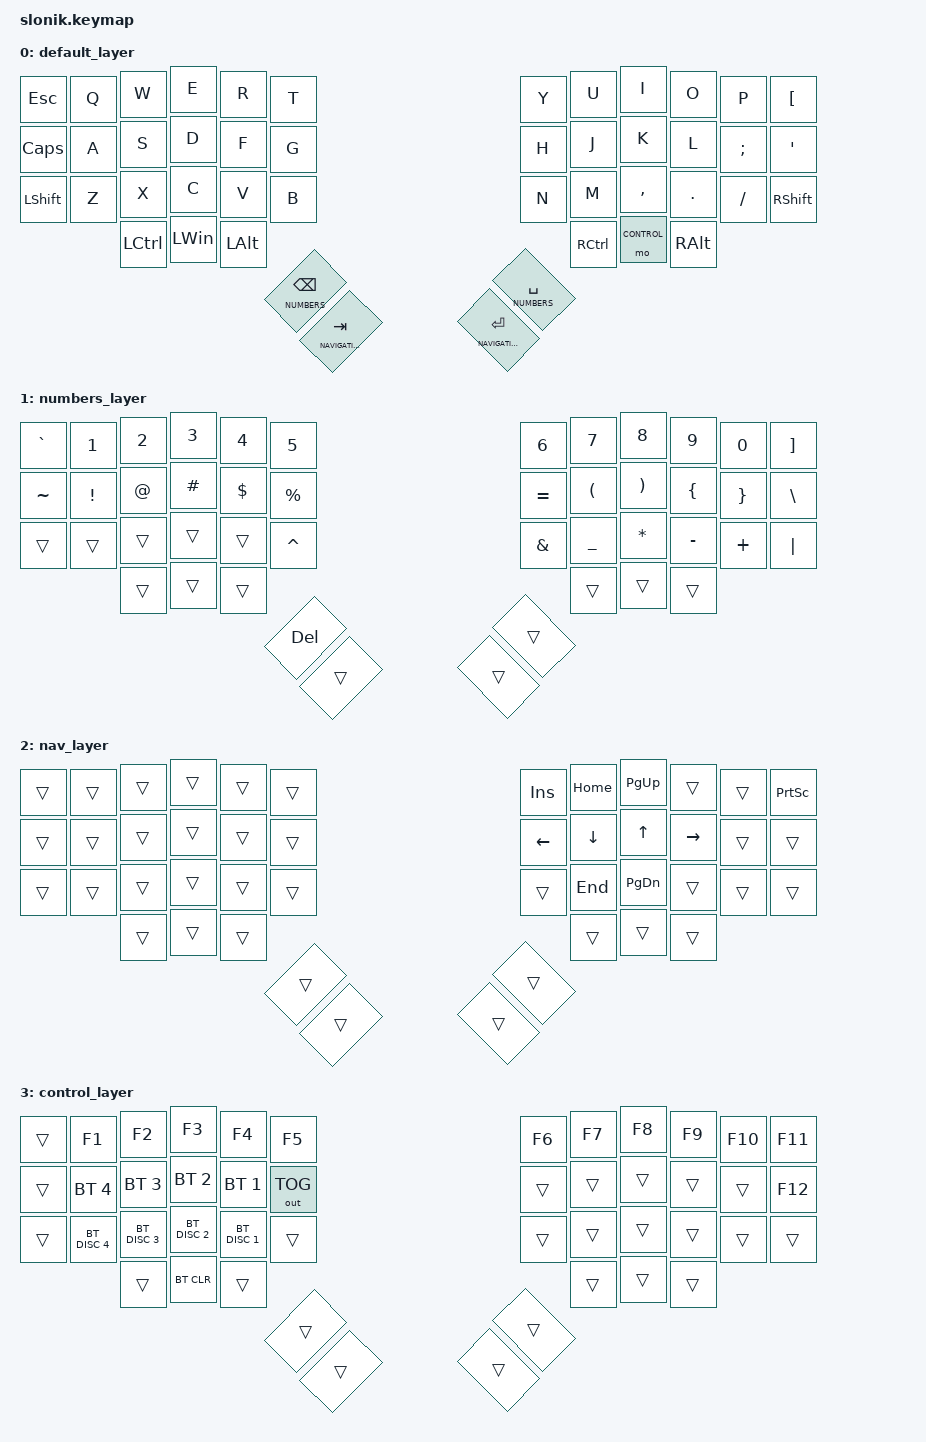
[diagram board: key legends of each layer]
#include <behaviors.dtsi>
#include <dt-bindings/zmk/keys.h>
#include <dt-bindings/zmk/bt.h>
#include <dt-bindings/zmk/outputs.h>

#define DEFAULT    0
#define NUMBERS    1
#define NAVIGATION 2
#define CONTROL    3

/ {
    behaviors {
        ht_hp: hold_tap_hold_preffered {
            compatible = "zmk,behavior-hold-tap";
            #binding-cells = <2>;
            flavor = "hold-preferred";
            bindings = <&mo>, <&kp>;
            tapping-term-ms = <200>;
        };
    };

    keymap {
        compatible = "zmk,keymap";
// ┏━━━━━━━━━┳━━━━━━━━━┳━━━━━━━━━┳━━━━━━━━━┳━━━━━━━━━┳━━━━━━━━━┓                                            ┏━━━━━━━━━┳━━━━━━━━━┳━━━━━━━━━┳━━━━━━━━━┳━━━━━━━━━┳━━━━━━━━━┓
// ┃         ┃         ┃         ┃         ┃         ┃         ┃                                            ┃         ┃         ┃         ┃         ┃         ┃         ┃
// ┃    ?    ┃    ?    ┃    ?    ┃    ?    ┃    ?    ┃    ?    ┃                                            ┃    ?    ┃    ?    ┃    ?    ┃    ?    ┃    ?    ┃    ?    ┃
// ┃         ┃         ┃         ┃         ┃         ┃         ┃                                            ┃         ┃         ┃         ┃         ┃         ┃         ┃
// ┣━━━━━━━━━╋━━━━━━━━━╋━━━━━━━━━╋━━━━━━━━━╋━━━━━━━━━╋━━━━━━━━━┫                                            ┣━━━━━━━━━╋━━━━━━━━━╋━━━━━━━━━╋━━━━━━━━━╋━━━━━━━━━╋━━━━━━━━━┫
// ┃         ┃         ┃         ┃         ┃         ┃         ┃                                            ┃         ┃         ┃         ┃         ┃         ┃         ┃
// ┃    ?    ┃    ?    ┃    ?    ┃    ?    ┃    ?    ┃    ?    ┃                                            ┃    ?    ┃    ?    ┃    ?    ┃    ?    ┃    ?    ┃    ?    ┃
// ┃         ┃         ┃         ┃         ┃         ┃         ┃                                            ┃         ┃         ┃         ┃         ┃         ┃         ┃
// ┣━━━━━━━━━╋━━━━━━━━━╋━━━━━━━━━╋━━━━━━━━━╋━━━━━━━━━╋━━━━━━━━━┫                                            ┣━━━━━━━━━╋━━━━━━━━━╋━━━━━━━━━╋━━━━━━━━━╋━━━━━━━━━╋━━━━━━━━━┫
// ┃         ┃         ┃         ┃         ┃         ┃         ┃                                            ┃         ┃         ┃         ┃         ┃         ┃         ┃
// ┃    ?    ┃    ?    ┃    ?    ┃    ?    ┃    ?    ┃    ?    ┃                                            ┃    ?    ┃    ?    ┃    ?    ┃    ?    ┃    ?    ┃    ?    ┃
// ┃         ┃         ┃         ┃         ┃         ┃         ┃                                            ┃         ┃         ┃         ┃         ┃         ┃         ┃
// ┗━━━━━━━━━┻━━━━━━━━━╋━━━━━━━━━╋━━━━━━━━━╋━━━━━━━━━╋━━━━━━━━━┛                                            ┗━━━━━━━━━╋━━━━━━━━━╋━━━━━━━━━╋━━━━━━━━━╋━━━━━━━━━┻━━━━━━━━━┛
//                     ┃         ┃         ┃         ┃┏━━━━━━━━━┓                                          ┏━━━━━━━━━┓┃         ┃         ┃         ┃
//                     ┃    ?    ┃    ?    ┃    ?    ┃┃         ┃                                          ┃         ┃┃    ?    ┃    ?    ┃    ?    ┃
//                     ┃         ┃         ┃         ┃┃    ?    ┃┏━━━━━━━━━┓                    ┏━━━━━━━━━┓┃    ?    ┃┃         ┃         ┃         ┃
//                     ┗━━━━━━━━━┻━━━━━━━━━┻━━━━━━━━━┛┃         ┃┃         ┃                    ┃         ┃┃         ┃┗━━━━━━━━━┻━━━━━━━━━┻━━━━━━━━━┛
//                                                    ┗━━━━━━━━━┛┃    ?    ┃                    ┃    ?    ┃┗━━━━━━━━━┛
//                                                               ┃         ┃                    ┃         ┃
//                                                               ┗━━━━━━━━━┛                    ┗━━━━━━━━━┛
        default_layer {
// ┏━━━━━━━━━┳━━━━━━━━━┳━━━━━━━━━┳━━━━━━━━━┳━━━━━━━━━┳━━━━━━━━━┓                                            ┏━━━━━━━━━┳━━━━━━━━━┳━━━━━━━━━┳━━━━━━━━━┳━━━━━━━━━┳━━━━━━━━━┓
// ┃         ┃         ┃         ┃         ┃         ┃         ┃                                            ┃         ┃         ┃         ┃         ┃         ┃         ┃
// ┃   ESC   ┃    Q    ┃    W    ┃    E    ┃    R    ┃    T    ┃                                            ┃    Y    ┃    U    ┃    I    ┃    O    ┃    P    ┃    [    ┃
// ┃         ┃         ┃         ┃         ┃         ┃         ┃                                            ┃         ┃         ┃         ┃         ┃         ┃         ┃
// ┣━━━━━━━━━╋━━━━━━━━━╋━━━━━━━━━╋━━━━━━━━━╋━━━━━━━━━╋━━━━━━━━━┫                                            ┣━━━━━━━━━╋━━━━━━━━━╋━━━━━━━━━╋━━━━━━━━━╋━━━━━━━━━╋━━━━━━━━━┫
// ┃         ┃         ┃         ┃         ┃         ┃         ┃                                            ┃         ┃         ┃         ┃         ┃         ┃         ┃
// ┃ CAPSLCK ┃    A    ┃    S    ┃    D    ┃    F    ┃    G    ┃                                            ┃    H    ┃    J    ┃    K    ┃    L    ┃    ;    ┃    '    ┃
// ┃         ┃         ┃         ┃         ┃         ┃         ┃                                            ┃         ┃         ┃         ┃         ┃         ┃         ┃
// ┣━━━━━━━━━╋━━━━━━━━━╋━━━━━━━━━╋━━━━━━━━━╋━━━━━━━━━╋━━━━━━━━━┫                                            ┣━━━━━━━━━╋━━━━━━━━━╋━━━━━━━━━╋━━━━━━━━━╋━━━━━━━━━╋━━━━━━━━━┫
// ┃         ┃         ┃         ┃         ┃         ┃         ┃                                            ┃         ┃         ┃         ┃         ┃         ┃         ┃
// ┃  SHIFT  ┃    Z    ┃    X    ┃    C    ┃    V    ┃    B    ┃                                            ┃    N    ┃    M    ┃    ,    ┃    .    ┃    /    ┃  SHIFT  ┃
// ┃         ┃         ┃         ┃         ┃         ┃         ┃                                            ┃         ┃         ┃         ┃         ┃         ┃         ┃
// ┗━━━━━━━━━┻━━━━━━━━━╋━━━━━━━━━╋━━━━━━━━━╋━━━━━━━━━╋━━━━━━━━━┛                                            ┗━━━━━━━━━╋━━━━━━━━━╋━━━━━━━━━╋━━━━━━━━━╋━━━━━━━━━┻━━━━━━━━━┛
//                     ┃         ┃         ┃         ┃┏━━━━━━━━━┓                                          ┏━━━━━━━━━┓┃         ┃         ┃         ┃
//                     ┃  CTRL   ┃   WIN   ┃   ALT   ┃┃  BKSP   ┃                                          ┃  SPACE  ┃┃  RCTRL  ┃   mo    ┃    ?    ┃
//                     ┃         ┃         ┃         ┃┃         ┃┏━━━━━━━━━┓                    ┏━━━━━━━━━┓┃         ┃┃         ┃         ┃         ┃
//                     ┗━━━━━━━━━┻━━━━━━━━━┻━━━━━━━━━┛┃   NUM   ┃┃   TAB   ┃                    ┃  ENTER  ┃┃   NUM   ┃┗━━━━━━━━━┻━━━━━━━━━┻━━━━━━━━━┛
//                                                    ┗━━━━━━━━━┛┃         ┃                    ┃         ┃┗━━━━━━━━━┛
//                                                               ┃   NAV   ┃                    ┃   NAV   ┃
//                                                               ┗━━━━━━━━━┛                    ┗━━━━━━━━━┛
            bindings = <
    &kp ESC    &kp Q    &kp W     &kp E     &kp R     &kp T                                                 &kp Y     &kp U     &kp I       &kp O     &kp P    &kp LEFT_BRACKET
    &kp CAPS   &kp A    &kp S     &kp D     &kp F     &kp G                                                 &kp H     &kp J     &kp K       &kp L     &kp SEMI &kp SQT
    &kp LSHIFT &kp Z    &kp X     &kp C     &kp V     &kp B                                                 &kp N     &kp M     &kp COMMA   &kp DOT   &kp FSLH &kp RSHIFT
                        &kp LCTRL &kp LWIN  &kp LALT                                                                  &kp RCTRL &mo CONTROL &kp RALT
                                            &ht_hp NUMBERS BKSP &ht_hp NAVIGATION TAB    &ht_hp NAVIGATION ENTER &ht_hp NUMBERS SPACE
            >;
        };
        numbers_layer {
// ┏━━━━━━━━━┳━━━━━━━━━┳━━━━━━━━━┳━━━━━━━━━┳━━━━━━━━━┳━━━━━━━━━┓                                            ┏━━━━━━━━━┳━━━━━━━━━┳━━━━━━━━━┳━━━━━━━━━┳━━━━━━━━━┳━━━━━━━━━┓
// ┃         ┃         ┃         ┃         ┃         ┃         ┃                                            ┃         ┃         ┃         ┃         ┃         ┃         ┃
// ┃    `    ┃    1    ┃    2    ┃    3    ┃    4    ┃    5    ┃                                            ┃    6    ┃    7    ┃    8    ┃    9    ┃    0    ┃    ]    ┃
// ┃         ┃         ┃         ┃         ┃         ┃         ┃                                            ┃         ┃         ┃         ┃         ┃         ┃         ┃
// ┣━━━━━━━━━╋━━━━━━━━━╋━━━━━━━━━╋━━━━━━━━━╋━━━━━━━━━╋━━━━━━━━━┫                                            ┣━━━━━━━━━╋━━━━━━━━━╋━━━━━━━━━╋━━━━━━━━━╋━━━━━━━━━╋━━━━━━━━━┫
// ┃         ┃         ┃         ┃         ┃         ┃         ┃                                            ┃         ┃         ┃         ┃         ┃         ┃         ┃
// ┃    ~    ┃    !    ┃    @    ┃    #    ┃    $    ┃    %    ┃                                            ┃    =    ┃    (    ┃    )    ┃    {    ┃    }    ┃    \    ┃
// ┃         ┃         ┃         ┃         ┃         ┃         ┃                                            ┃         ┃         ┃         ┃         ┃         ┃         ┃
// ┣━━━━━━━━━╋━━━━━━━━━╋━━━━━━━━━╋━━━━━━━━━╋━━━━━━━━━╋━━━━━━━━━┫                                            ┣━━━━━━━━━╋━━━━━━━━━╋━━━━━━━━━╋━━━━━━━━━╋━━━━━━━━━╋━━━━━━━━━┫
// ┃         ┃         ┃         ┃         ┃         ┃         ┃                                            ┃         ┃         ┃         ┃         ┃         ┃         ┃
// ┃    ?    ┃    ?    ┃    ?    ┃    ?    ┃    ?    ┃    ^    ┃                                            ┃    &    ┃    _    ┃    *    ┃    -    ┃    +    ┃    |    ┃
// ┃         ┃         ┃         ┃         ┃         ┃         ┃                                            ┃         ┃         ┃         ┃         ┃         ┃         ┃
// ┗━━━━━━━━━┻━━━━━━━━━╋━━━━━━━━━╋━━━━━━━━━╋━━━━━━━━━╋━━━━━━━━━┛                                            ┗━━━━━━━━━╋━━━━━━━━━╋━━━━━━━━━╋━━━━━━━━━╋━━━━━━━━━┻━━━━━━━━━┛
//                     ┃         ┃         ┃         ┃┏━━━━━━━━━┓                                          ┏━━━━━━━━━┓┃         ┃         ┃         ┃
//                     ┃    ?    ┃    ?    ┃    ?    ┃┃         ┃                                          ┃         ┃┃    ?    ┃    ?    ┃    ?    ┃
//                     ┃         ┃         ┃         ┃┃   DEL   ┃┏━━━━━━━━━┓                    ┏━━━━━━━━━┓┃    ?    ┃┃         ┃         ┃         ┃
//                     ┗━━━━━━━━━┻━━━━━━━━━┻━━━━━━━━━┛┃         ┃┃         ┃                    ┃         ┃┃         ┃┗━━━━━━━━━┻━━━━━━━━━┻━━━━━━━━━┛
//                                                    ┗━━━━━━━━━┛┃    ?    ┃                    ┃    ?    ┃┗━━━━━━━━━┛
//                                                               ┃         ┃                    ┃         ┃
//                                                               ┗━━━━━━━━━┛                    ┗━━━━━━━━━┛

            bindings = <
    &kp GRAVE  &kp N1   &kp N2    &kp N3    &kp N4    &kp N5                                                &kp N6    &kp N7    &kp N8    &kp N9    &kp N0   &kp RIGHT_BRACKET
    &kp TILDE  &kp EXCL &kp AT    &kp HASH  &kp DLLR  &kp PRCNT                                             &kp EQUAL &kp LPAR  &kp RPAR  &kp LBRC  &kp RBRC &kp BACKSLASH
    &trans     &trans   &trans    &trans    &trans    &kp CARET                                             &kp AMPS  &kp UNDER &kp STAR  &kp MINUS &kp PLUS &kp PIPE
                        &trans   &trans     &trans                                                           &trans    &trans    &trans
                                                      &kp DEL      &trans                         &trans    &trans
            >;

        };
        nav_layer {
// ┏━━━━━━━━━┳━━━━━━━━━┳━━━━━━━━━┳━━━━━━━━━┳━━━━━━━━━┳━━━━━━━━━┓                                            ┏━━━━━━━━━┳━━━━━━━━━┳━━━━━━━━━┳━━━━━━━━━┳━━━━━━━━━┳━━━━━━━━━┓
// ┃         ┃         ┃         ┃         ┃         ┃         ┃                                            ┃         ┃         ┃         ┃         ┃         ┃  PRINT  ┃
// ┃    ?    ┃    ?    ┃    ?    ┃    ?    ┃    ?    ┃    ?    ┃                                            ┃   INS   ┃  HOME   ┃  PGUP   ┃    ?    ┃    ?    ┃  SCREEN ┃
// ┃         ┃         ┃         ┃         ┃         ┃         ┃                                            ┃         ┃         ┃         ┃         ┃         ┃         ┃
// ┣━━━━━━━━━╋━━━━━━━━━╋━━━━━━━━━╋━━━━━━━━━╋━━━━━━━━━╋━━━━━━━━━┫                                            ┣━━━━━━━━━╋━━━━━━━━━╋━━━━━━━━━╋━━━━━━━━━╋━━━━━━━━━╋━━━━━━━━━┫
// ┃         ┃         ┃         ┃         ┃         ┃         ┃                                            ┃         ┃         ┃         ┃         ┃         ┃         ┃
// ┃    ?    ┃    ?    ┃    ?    ┃    ?    ┃    ?    ┃    ?    ┃                                            ┃  LEFT   ┃  DOWN   ┃   UP    ┃  RIGHT  ┃    ?    ┃    ?    ┃
// ┃         ┃         ┃         ┃         ┃         ┃         ┃                                            ┃         ┃         ┃         ┃         ┃         ┃         ┃
// ┣━━━━━━━━━╋━━━━━━━━━╋━━━━━━━━━╋━━━━━━━━━╋━━━━━━━━━╋━━━━━━━━━┫                                            ┣━━━━━━━━━╋━━━━━━━━━╋━━━━━━━━━╋━━━━━━━━━╋━━━━━━━━━╋━━━━━━━━━┫
// ┃         ┃         ┃         ┃         ┃         ┃         ┃                                            ┃         ┃         ┃         ┃         ┃         ┃         ┃
// ┃    ?    ┃    ?    ┃    ?    ┃    ?    ┃    ?    ┃    ?    ┃                                            ┃    ?    ┃   END   ┃ PGDOWN  ┃    ?    ┃    ?    ┃    ?    ┃
// ┃         ┃         ┃         ┃         ┃         ┃         ┃                                            ┃         ┃         ┃         ┃         ┃         ┃         ┃
// ┗━━━━━━━━━┻━━━━━━━━━╋━━━━━━━━━╋━━━━━━━━━╋━━━━━━━━━╋━━━━━━━━━┛                                            ┗━━━━━━━━━╋━━━━━━━━━╋━━━━━━━━━╋━━━━━━━━━╋━━━━━━━━━┻━━━━━━━━━┛
//                     ┃         ┃         ┃         ┃┏━━━━━━━━━┓                                          ┏━━━━━━━━━┓┃         ┃         ┃         ┃
//                     ┃    ?    ┃    ?    ┃    ?    ┃┃         ┃                                          ┃         ┃┃    ?    ┃    ?    ┃    ?    ┃
//                     ┃         ┃         ┃         ┃┃    ?    ┃┏━━━━━━━━━┓                    ┏━━━━━━━━━┓┃    ?    ┃┃         ┃         ┃         ┃
//                     ┗━━━━━━━━━┻━━━━━━━━━┻━━━━━━━━━┛┃         ┃┃         ┃                    ┃         ┃┃         ┃┗━━━━━━━━━┻━━━━━━━━━┻━━━━━━━━━┛
//                                                    ┗━━━━━━━━━┛┃    ?    ┃                    ┃    ?    ┃┗━━━━━━━━━┛
//                                                               ┃         ┃                    ┃         ┃
//                                                               ┗━━━━━━━━━┛                    ┗━━━━━━━━━┛
            bindings = <
    &trans     &trans   &trans    &trans    &trans    &trans                                                 &kp INS   &kp HOME  &kp PG_UP &trans    &trans    &kp PSCRN
    &trans     &trans   &trans    &trans    &trans    &trans                                                 &kp LEFT  &kp DOWN  &kp UP    &kp RIGHT &trans    &trans
    &trans     &trans   &trans    &trans    &trans    &trans                                                 &trans    &kp END   &kp PG_DN &trans    &trans    &trans
                        &trans    &trans    &trans                                                                     &trans    &trans    &trans
                                                       &trans     &trans                         &trans     &trans
            >;
        };
        control_layer {
// ┏━━━━━━━━━┳━━━━━━━━━┳━━━━━━━━━┳━━━━━━━━━┳━━━━━━━━━┳━━━━━━━━━┓                                            ┏━━━━━━━━━┳━━━━━━━━━┳━━━━━━━━━┳━━━━━━━━━┳━━━━━━━━━┳━━━━━━━━━┓
// ┃         ┃         ┃         ┃         ┃         ┃         ┃                                            ┃         ┃         ┃         ┃         ┃         ┃         ┃
// ┃    ?    ┃   F1    ┃   F2    ┃   F3    ┃   F4    ┃   F5    ┃                                            ┃   F6    ┃   F7    ┃   F8    ┃   F9    ┃   F10   ┃   F11   ┃
// ┃         ┃         ┃         ┃         ┃         ┃         ┃                                            ┃         ┃         ┃         ┃         ┃         ┃         ┃
// ┣━━━━━━━━━╋━━━━━━━━━╋━━━━━━━━━╋━━━━━━━━━╋━━━━━━━━━╋━━━━━━━━━┫                                            ┣━━━━━━━━━╋━━━━━━━━━╋━━━━━━━━━╋━━━━━━━━━╋━━━━━━━━━╋━━━━━━━━━┫
// ┃         ┃         ┃         ┃         ┃         ┃ TOGGLE  ┃                                            ┃         ┃         ┃         ┃         ┃         ┃         ┃
// ┃    ?    ┃  BT 4   ┃  BT 3   ┃  BT 2   ┃  BT 1   ┃   BLE   ┃                                            ┃    ?    ┃    ?    ┃    ?    ┃    ?    ┃    ?    ┃   F12   ┃
// ┃         ┃         ┃         ┃         ┃         ┃   USB   ┃                                            ┃         ┃         ┃         ┃         ┃         ┃         ┃
// ┣━━━━━━━━━╋━━━━━━━━━╋━━━━━━━━━╋━━━━━━━━━╋━━━━━━━━━╋━━━━━━━━━┫                                            ┣━━━━━━━━━╋━━━━━━━━━╋━━━━━━━━━╋━━━━━━━━━╋━━━━━━━━━╋━━━━━━━━━┫
// ┃         ┃  BT 4   ┃  BT 3   ┃  BT 2   ┃  BT 1   ┃         ┃                                            ┃         ┃         ┃         ┃         ┃         ┃         ┃
// ┃    ?    ┃  DISC   ┃  DISC   ┃  DISC   ┃  DISC   ┃    ?    ┃                                            ┃    ?    ┃    ?    ┃    ?    ┃    ?    ┃    ?    ┃    ?    ┃
// ┃         ┃         ┃         ┃         ┃         ┃         ┃                                            ┃         ┃         ┃         ┃         ┃         ┃         ┃
// ┗━━━━━━━━━┻━━━━━━━━━╋━━━━━━━━━╋━━━━━━━━━╋━━━━━━━━━╋━━━━━━━━━┛                                            ┗━━━━━━━━━╋━━━━━━━━━╋━━━━━━━━━╋━━━━━━━━━╋━━━━━━━━━┻━━━━━━━━━┛
//                     ┃         ┃         ┃         ┃┏━━━━━━━━━┓                                          ┏━━━━━━━━━┓┃         ┃         ┃         ┃
//                     ┃    ?    ┃ BT CLR  ┃    ?    ┃┃         ┃                                          ┃         ┃┃    ?    ┃    ?    ┃    ?    ┃
//                     ┃         ┃         ┃         ┃┃    ?    ┃┏━━━━━━━━━┓                    ┏━━━━━━━━━┓┃    ?    ┃┃         ┃         ┃         ┃
//                     ┗━━━━━━━━━┻━━━━━━━━━┻━━━━━━━━━┛┃         ┃┃         ┃                    ┃         ┃┃         ┃┗━━━━━━━━━┻━━━━━━━━━┻━━━━━━━━━┛
//                                                    ┗━━━━━━━━━┛┃    ?    ┃                    ┃    ?    ┃┗━━━━━━━━━┛
//                                                               ┃         ┃                    ┃         ┃
//                                                               ┗━━━━━━━━━┛                    ┗━━━━━━━━━┛
            bindings = <
    &trans     &kp F1        &kp F2        &kp F3        &kp F4        &kp F5                                                 &kp F6    &kp F7    &kp F8    &kp F9    &kp F10   &kp F11
    &trans     &bt BT_SEL 4  &bt BT_SEL 3  &bt BT_SEL 2  &bt BT_SEL 1  &out OUT_TOG                                           &trans    &trans    &trans    &trans    &trans    &kp F12
    &trans     &bt BT_DISC 4 &bt BT_DISC 3 &bt BT_DISC 2 &bt BT_DISC 1 &trans                                                 &trans    &trans    &trans    &trans    &trans    &trans
                             &trans        &bt BT_CLR    &trans                                                                         &trans    &trans    &trans
                                                         &trans     &trans                                         &trans     &trans
            >;
        };
    };
};
